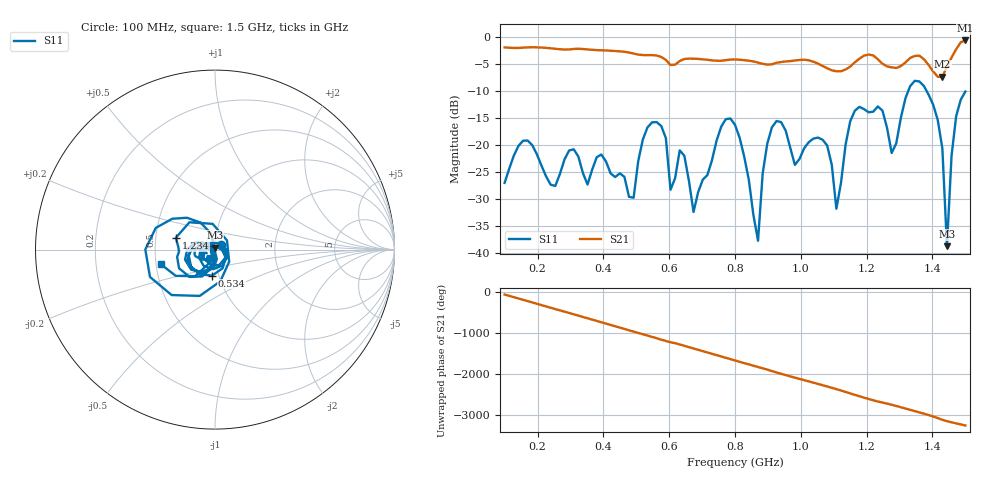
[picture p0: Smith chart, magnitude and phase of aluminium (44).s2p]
! NanoVNA-App
! Date: 2025-09-26 09:58:24
! Start: 100MHz Stop: 1,5GHz Points: 101
! S-Parameter data: F S11 S21 S12 S22
# Hz S RI R 50
!  Frequency  S11_Real  S11_Imag  S21_Real  S21_Imag  S12_Real  S12_Imag  S22_Real  S22_Imag
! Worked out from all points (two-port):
!   101 points, 100 MHz to 1.5 GHz, reference 50 ohm
!   highest |S21| = -0.63 dB at 1.5 GHz (marker M1); lowest = -7.4 dB at 1.43 GHz (marker M2)
!   |S21| within 3 dB of the highest: start of sweep to 573.2 MHz; 1.187 GHz to 1.224 GHz (37.29 MHz wide, 3.09 % of centre)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
!   lowest |S11| = -38.7 dB at 1.444 GHz (marker M3), VSWR 1.02, Z = 49.8 + j1.14 ohm
!   |S11| at or under -10 dB: start of sweep to 1.326 GHz; 1.382 GHz to end of sweep
!   S12 and S22 are empty: the file has one direction only
!   S11 on the Smith chart (normalised r, x): 100 MHz: 1.07, +0.06; 534 MHz: 0.93, -0.27; 1.234 GHz: 0.64, +0.09; 1.5 GHz: 0.53, -0.10
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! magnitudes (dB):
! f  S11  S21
! 100 MHz  -27.0  -1.9
! 156 MHz  -19.2  -2.0
! 338 MHz  -25.2  -2.2
! 492 MHz  -29.8  -3.1
! 534 MHz  -16.7  -3.4
! 576 MHz  -16.5  -3.7
! 604 MHz  -28.3  -5.2
! 632 MHz  -21.0  -4.4
! 674 MHz  -32.4  -4.0
! 800 MHz  -16.3  -4.1
! 870 MHz  -37.7  -4.7
! 912 MHz  -16.7  -5.1
! 1.038 GHz  -18.8  -4.6
! 1.108 GHz  -31.8  -6.3
! 1.15 GHz  -15.6  -5.5
! 1.234 GHz  -12.9  -4.1
! 1.276 GHz  -21.5  -5.6
! 1.346 GHz  -8.1  -3.5
! 1.43 GHz  -20.6  -7.4
! 1.444 GHz  -38.7  -5.5
! 1.472 GHz  -14.6  -2.2
! 1.5 GHz  -10.1  -0.6
